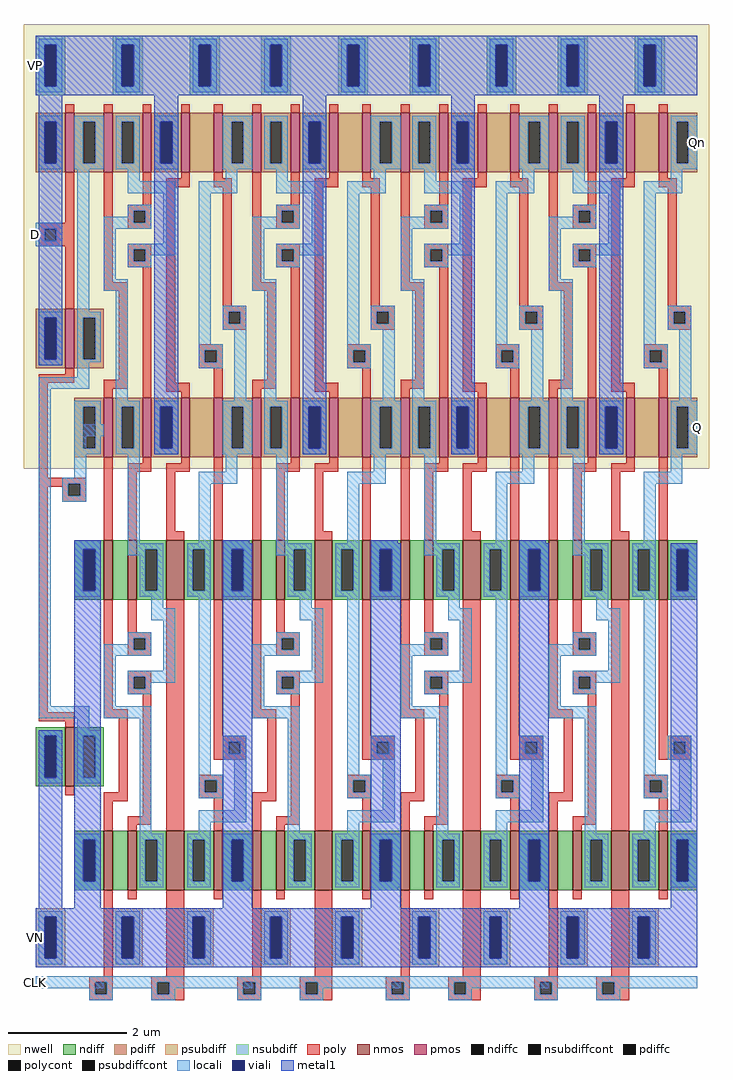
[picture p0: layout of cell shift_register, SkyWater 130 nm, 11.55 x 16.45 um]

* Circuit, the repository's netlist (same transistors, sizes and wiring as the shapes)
* SPICE3 file created from shift_register.ext - technology: sky130A

.subckt inverter A Y VP VN CLK
X0 Y A VP VP sky130_fd_pr__pfet_01v8 ad=1e+12p pd=6e+06u as=1e+12p ps=6e+06u w=1e+06u l=150000u
X1 Y A VP VP sky130_fd_pr__pfet_01v8 ad=0p pd=0u as=0p ps=0u w=1e+06u l=150000u
X2 Y A VN VN sky130_fd_pr__nfet_01v8 ad=5e+11p pd=3e+06u as=5e+11p ps=3e+06u w=1e+06u l=150000u
.ends

.subckt D_latch Dn D Qn Q CLK VP VN
X0 a_30_840# CLK VN VN sky130_fd_pr__nfet_01v8 ad=2.5e+11p pd=2.5e+06u as=2e+12p ps=1.2e+07u w=1e+06u l=150000u
X1 VP a_30_1320# a_30_2280# VP sky130_fd_pr__pfet_01v8 ad=1e+12p pd=6e+06u as=5e+11p ps=3e+06u w=1e+06u l=150000u
X2 a_290_1320# CLK VP VP sky130_fd_pr__pfet_01v8 ad=4e+11p pd=2.8e+06u as=0p ps=0u w=1e+06u l=150000u
X3 Q Qn a_290_1320# VP sky130_fd_pr__pfet_01v8 ad=5e+11p pd=3e+06u as=0p ps=0u w=1e+06u l=150000u
X4 a_30_1320# CLK D VP sky130_fd_pr__pfet_01v8 ad=5e+11p pd=3e+06u as=5e+11p ps=3e+06u w=1e+06u l=150000u
X5 a_30_2280# a_30_1320# a_30_n140# VN sky130_fd_pr__nfet_01v8 ad=5e+11p pd=3e+06u as=2.5e+11p ps=2.5e+06u w=1e+06u l=150000u
X6 Qn CLK a_30_2280# VN sky130_fd_pr__nfet_01v8 ad=5e+11p pd=3e+06u as=0p ps=0u w=1e+06u l=300000u
X7 Q CLK a_30_1320# VN sky130_fd_pr__nfet_01v8 ad=5e+11p pd=3e+06u as=5e+11p ps=3e+06u w=1e+06u l=300000u
X8 a_290_2280# CLK VP VP sky130_fd_pr__pfet_01v8 ad=4e+11p pd=2.8e+06u as=0p ps=0u w=1e+06u l=150000u
X9 VN Q Qn VN sky130_fd_pr__nfet_01v8 ad=0p pd=0u as=0p ps=0u w=1e+06u l=150000u
X10 VP a_30_2280# a_30_1320# VP sky130_fd_pr__pfet_01v8 ad=0p pd=0u as=0p ps=0u w=1e+06u l=150000u
X11 a_30_n140# CLK VN VN sky130_fd_pr__nfet_01v8 ad=0p pd=0u as=0p ps=0u w=1e+06u l=150000u
X12 Qn Q a_290_2280# VP sky130_fd_pr__pfet_01v8 ad=5e+11p pd=3e+06u as=0p ps=0u w=1e+06u l=150000u
X13 a_30_2280# CLK Dn VP sky130_fd_pr__pfet_01v8 ad=0p pd=0u as=5e+11p ps=3e+06u w=1e+06u l=150000u
X14 a_30_1320# a_30_2280# a_30_840# VN sky130_fd_pr__nfet_01v8 ad=0p pd=0u as=0p ps=0u w=1e+06u l=150000u
X15 VN Qn Q VN sky130_fd_pr__nfet_01v8 ad=0p pd=0u as=0p ps=0u w=1e+06u l=150000u
.ends


* Top level circuit shift_register

Xinverter_0 D inverter_0/Y VP VN CLK inverter
XD_latch_0 inverter_0/Y D D_latch_1/Dn D_latch_1/D CLK VP VN D_latch
XD_latch_1 D_latch_1/Dn D_latch_1/D D_latch_2/Dn D_latch_2/D CLK VP VN D_latch
XD_latch_2 D_latch_2/Dn D_latch_2/D D_latch_3/Dn D_latch_3/D CLK VP VN D_latch
XD_latch_3 D_latch_3/Dn D_latch_3/D Qn Q CLK VP VN D_latch
.end

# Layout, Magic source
magic
tech sky130A
<< locali >>
rect 1120 1380 1135 1470
rect 20 1250 35 1290
rect 1120 900 1135 990
rect 20 0 35 20
<< metal1 >>
rect 20 1505 35 1605
rect 20 35 35 135
use D_latch  D_latch_3 ~/Documents/MADVLSI-MP2/layout/final_layout
transform 1 0 885 0 1 235
box -70 -255 270 1390
use D_latch  D_latch_2
transform 1 0 635 0 1 235
box -70 -255 270 1390
use D_latch  D_latch_1
transform 1 0 385 0 1 235
box -70 -255 270 1390
use D_latch  D_latch_0
transform 1 0 135 0 1 235
box -70 -255 270 1390
use inverter  inverter_0 ~/Documents/MADVLSI-MP2/layout/final_layout
transform 1 0 70 0 1 170
box -70 -170 85 1455
<< labels >>
rlabel locali 1135 1425 1135 1425 3 Qn
rlabel locali 1135 945 1135 945 3 Q
rlabel metal1 20 85 20 85 7 VN
rlabel locali 20 10 20 10 7 CLK
rlabel locali 20 1270 20 1270 7 D
rlabel metal1 20 1555 20 1555 7 VP
<< end >>

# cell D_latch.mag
magic
tech sky130A
<< nwell >>
rect -70 640 270 1390
<< nmos >>
rect 0 420 15 520
rect 40 420 55 520
rect 105 420 135 520
rect 185 420 200 520
rect 0 -70 15 30
rect 40 -70 55 30
rect 105 -70 135 30
rect 185 -70 200 30
<< pmos >>
rect 0 1140 15 1240
rect 65 1140 80 1240
rect 130 1140 145 1240
rect 185 1140 200 1240
rect 0 660 15 760
rect 65 660 80 760
rect 130 660 145 760
rect 185 660 200 760
<< ndiff >>
rect -50 505 0 520
rect -50 435 -35 505
rect -15 435 0 505
rect -50 420 0 435
rect 15 420 40 520
rect 55 505 105 520
rect 55 435 70 505
rect 90 435 105 505
rect 55 420 105 435
rect 135 505 185 520
rect 135 435 150 505
rect 170 435 185 505
rect 135 420 185 435
rect 200 505 250 520
rect 200 435 215 505
rect 235 435 250 505
rect 200 420 250 435
rect -50 15 0 30
rect -50 -55 -35 15
rect -15 -55 0 15
rect -50 -70 0 -55
rect 15 -70 40 30
rect 55 15 105 30
rect 55 -55 70 15
rect 90 -55 105 15
rect 55 -70 105 -55
rect 135 15 185 30
rect 135 -55 150 15
rect 170 -55 185 15
rect 135 -70 185 -55
rect 200 15 250 30
rect 200 -55 215 15
rect 235 -55 250 15
rect 200 -70 250 -55
<< pdiff >>
rect -50 1225 0 1240
rect -50 1155 -35 1225
rect -15 1155 0 1225
rect -50 1140 0 1155
rect 15 1225 65 1240
rect 15 1155 30 1225
rect 50 1155 65 1225
rect 15 1140 65 1155
rect 80 1225 130 1240
rect 80 1155 95 1225
rect 115 1155 130 1225
rect 80 1140 130 1155
rect 145 1140 185 1240
rect 200 1225 250 1240
rect 200 1155 215 1225
rect 235 1155 250 1225
rect 200 1140 250 1155
rect -50 745 0 760
rect -50 675 -35 745
rect -15 675 0 745
rect -50 660 0 675
rect 15 745 65 760
rect 15 675 30 745
rect 50 675 65 745
rect 15 660 65 675
rect 80 745 130 760
rect 80 675 95 745
rect 115 675 130 745
rect 80 660 130 675
rect 145 660 185 760
rect 200 745 250 760
rect 200 675 215 745
rect 235 675 250 745
rect 200 660 250 675
<< ndiffc >>
rect -35 435 -15 505
rect 70 435 90 505
rect 150 435 170 505
rect 215 435 235 505
rect -35 -55 -15 15
rect 70 -55 90 15
rect 150 -55 170 15
rect 215 -55 235 15
<< pdiffc >>
rect -35 1155 -15 1225
rect 30 1155 50 1225
rect 95 1155 115 1225
rect 215 1155 235 1225
rect -35 675 -15 745
rect 30 675 50 745
rect 95 675 115 745
rect 215 675 235 745
<< psubdiff >>
rect 15 -115 65 -100
rect 15 -185 30 -115
rect 50 -185 65 -115
rect 15 -200 65 -185
rect 135 -115 185 -100
rect 135 -185 150 -115
rect 170 -185 185 -115
rect 135 -200 185 -185
<< nsubdiff >>
rect 15 1355 65 1370
rect 15 1285 30 1355
rect 50 1285 65 1355
rect 15 1270 65 1285
rect 145 1355 195 1370
rect 145 1285 160 1355
rect 180 1285 195 1355
rect 145 1270 195 1285
<< psubdiffcont >>
rect 30 -185 50 -115
rect 150 -185 170 -115
<< nsubdiffcont >>
rect 30 1285 50 1355
rect 160 1285 180 1355
<< poly >>
rect 0 1240 15 1255
rect 65 1240 80 1255
rect 130 1240 145 1255
rect 185 1240 200 1255
rect 0 955 15 1140
rect 65 1085 80 1140
rect 130 1130 145 1140
rect 40 1075 80 1085
rect 40 1055 50 1075
rect 70 1055 80 1075
rect 40 1045 80 1055
rect 105 1115 145 1130
rect 185 1130 200 1140
rect 185 1115 215 1130
rect 40 1010 80 1020
rect 40 990 50 1010
rect 70 990 80 1010
rect 40 980 80 990
rect 0 940 40 955
rect 25 790 40 940
rect 0 775 40 790
rect 0 760 15 775
rect 65 760 80 980
rect 105 785 120 1115
rect 200 915 215 1115
rect 200 905 240 915
rect 200 885 210 905
rect 230 885 240 905
rect 200 875 240 885
rect 160 840 200 850
rect 160 820 170 840
rect 190 820 200 840
rect 160 810 200 820
rect 105 770 145 785
rect 130 760 145 770
rect 185 760 200 810
rect 0 520 15 660
rect 65 650 80 660
rect 130 650 145 660
rect 40 635 80 650
rect 105 635 145 650
rect 40 520 55 635
rect 105 535 120 635
rect 105 520 135 535
rect 185 520 200 660
rect 0 235 15 420
rect 40 365 55 420
rect 40 355 80 365
rect 40 335 50 355
rect 70 335 80 355
rect 40 325 80 335
rect 40 290 80 300
rect 40 270 50 290
rect 70 270 80 290
rect 40 260 80 270
rect 0 220 40 235
rect 25 95 40 220
rect 0 80 40 95
rect 0 30 15 80
rect 65 55 80 260
rect 40 40 80 55
rect 40 30 55 40
rect 105 30 135 420
rect 185 190 200 420
rect 185 180 240 190
rect 185 160 210 180
rect 230 160 240 180
rect 185 150 240 160
rect 160 115 200 125
rect 160 95 170 115
rect 190 95 200 115
rect 160 85 200 95
rect 185 30 200 85
rect 0 -215 15 -70
rect 40 -85 55 -70
rect 105 -215 135 -70
rect 185 -85 200 -70
rect -25 -225 15 -215
rect -25 -245 -15 -225
rect 5 -245 15 -225
rect -25 -255 15 -245
rect 80 -225 135 -215
rect 80 -245 90 -225
rect 110 -245 135 -225
rect 80 -255 135 -245
<< polycont >>
rect 50 1055 70 1075
rect 50 990 70 1010
rect 210 885 230 905
rect 170 820 190 840
rect 50 335 70 355
rect 50 270 70 290
rect 210 160 230 180
rect 170 95 190 115
rect -15 -245 5 -225
rect 90 -245 110 -225
<< locali >>
rect 20 1355 60 1365
rect 20 1285 30 1355
rect 50 1285 60 1355
rect 20 1275 60 1285
rect 150 1355 190 1365
rect 150 1285 160 1355
rect 180 1285 190 1355
rect 150 1275 190 1285
rect -50 1225 -5 1235
rect -50 1155 -35 1225
rect -15 1155 -5 1225
rect -50 1145 -5 1155
rect 20 1225 60 1235
rect 20 1155 30 1225
rect 50 1155 60 1225
rect 20 1145 60 1155
rect 85 1225 125 1235
rect 85 1155 95 1225
rect 115 1155 125 1225
rect 85 1145 125 1155
rect 205 1225 250 1235
rect 205 1155 215 1225
rect 235 1155 250 1225
rect 205 1145 250 1155
rect 40 1125 60 1145
rect 205 1125 225 1145
rect 40 1105 120 1125
rect 40 1075 80 1085
rect 40 1065 50 1075
rect 0 1055 50 1065
rect 70 1055 80 1075
rect 0 1045 80 1055
rect 0 960 20 1045
rect 100 1020 120 1105
rect 40 1010 120 1020
rect 40 990 50 1010
rect 70 1000 120 1010
rect 160 1105 225 1125
rect 70 990 80 1000
rect 40 980 80 990
rect 0 940 40 960
rect 20 755 40 940
rect 160 850 180 1105
rect 200 905 240 915
rect 200 885 210 905
rect 230 885 240 905
rect 200 875 240 885
rect 160 840 200 850
rect 160 820 170 840
rect 190 820 200 840
rect 160 810 200 820
rect 220 755 240 875
rect -50 745 -5 755
rect -50 675 -35 745
rect -15 675 -5 745
rect -50 665 -5 675
rect 20 745 60 755
rect 20 675 30 745
rect 50 675 60 745
rect 20 665 60 675
rect 85 745 125 755
rect 85 675 95 745
rect 115 675 125 745
rect 85 665 125 675
rect 205 745 250 755
rect 205 675 215 745
rect 235 675 250 745
rect 205 665 250 675
rect -50 505 -5 520
rect -50 435 -35 505
rect -15 435 -5 505
rect 40 515 60 665
rect 205 635 225 665
rect 160 615 225 635
rect 160 515 180 615
rect 40 505 100 515
rect 40 495 70 505
rect -50 425 -5 435
rect 60 435 70 495
rect 90 435 100 505
rect 60 425 100 435
rect 140 505 180 515
rect 140 435 150 505
rect 170 435 180 505
rect 140 425 180 435
rect 205 505 250 515
rect 205 435 215 505
rect 235 435 250 505
rect 205 425 250 435
rect 80 405 100 425
rect 80 385 120 405
rect 40 355 80 365
rect 40 345 50 355
rect 0 335 50 345
rect 70 335 80 355
rect 0 325 80 335
rect 0 240 20 325
rect 100 300 120 385
rect 40 290 120 300
rect 40 270 50 290
rect 70 280 120 290
rect 70 270 80 280
rect 40 260 80 270
rect 0 220 80 240
rect 60 25 80 220
rect 160 125 180 425
rect 200 180 240 190
rect 200 160 210 180
rect 230 160 240 180
rect 200 150 240 160
rect 160 115 200 125
rect 160 95 170 115
rect 190 95 200 115
rect 160 85 200 95
rect 220 65 240 150
rect 160 45 240 65
rect 160 25 180 45
rect -50 15 -5 25
rect -50 -55 -35 15
rect -15 -55 -5 15
rect -50 -70 -5 -55
rect 60 15 100 25
rect 60 -55 70 15
rect 90 -55 100 15
rect 60 -65 100 -55
rect 140 15 180 25
rect 140 -55 150 15
rect 170 -55 180 15
rect 140 -65 180 -55
rect 205 15 250 25
rect 205 -55 215 15
rect 235 -55 250 15
rect 205 -65 250 -55
rect 20 -115 60 -105
rect 20 -185 30 -115
rect 50 -185 60 -115
rect 20 -195 60 -185
rect 140 -115 180 -105
rect 140 -185 150 -115
rect 170 -185 180 -115
rect 140 -195 180 -185
rect -50 -225 250 -215
rect -50 -235 -15 -225
rect -25 -245 -15 -235
rect 5 -235 90 -225
rect 5 -245 15 -235
rect -25 -255 15 -245
rect 80 -245 90 -235
rect 110 -235 250 -225
rect 110 -245 120 -235
rect 80 -255 120 -245
<< viali >>
rect 30 1285 50 1355
rect 160 1285 180 1355
rect 95 1155 115 1225
rect 95 675 115 745
rect -35 435 -15 505
rect 215 435 235 505
rect -35 -55 -15 15
rect 215 -55 235 15
rect 30 -185 50 -115
rect 150 -185 170 -115
<< metal1 >>
rect -50 1355 250 1370
rect -50 1285 30 1355
rect 50 1285 160 1355
rect 180 1285 250 1355
rect -50 1270 250 1285
rect 85 1225 125 1270
rect 85 1155 95 1225
rect 115 1155 125 1225
rect 85 745 125 1155
rect 85 675 95 745
rect 115 675 125 745
rect 85 665 125 675
rect -50 505 -5 520
rect -50 435 -35 505
rect -15 435 -5 505
rect -50 15 -5 435
rect -50 -55 -35 15
rect -15 -55 -5 15
rect -50 -100 -5 -55
rect 205 505 250 515
rect 205 435 215 505
rect 235 435 250 505
rect 205 15 250 435
rect 205 -55 215 15
rect 235 -55 250 15
rect 205 -100 250 -55
rect -50 -115 250 -100
rect -50 -185 30 -115
rect 50 -185 150 -115
rect 170 -185 250 -115
rect -50 -200 250 -185
<< labels >>
rlabel locali -50 710 -50 710 7 D
port 2 w
rlabel locali -50 1190 -50 1190 7 Dn
port 1 w
rlabel metal1 -50 1325 -50 1325 7 VP
port 6 w
rlabel metal1 -50 -155 -50 -155 7 VN
port 7 w
rlabel locali -50 -225 -50 -225 7 CLK
port 5 w
rlabel locali 250 1190 250 1190 3 Qn
port 3 e
rlabel locali 250 710 250 710 3 Q
port 4 e
<< end >>

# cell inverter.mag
magic
tech sky130A
<< nwell >>
rect -70 705 85 1455
<< nmos >>
rect 0 170 15 270
<< pmos >>
rect 0 1205 15 1305
rect 0 875 15 975
<< ndiff >>
rect -50 255 0 270
rect -50 185 -35 255
rect -15 185 0 255
rect -50 170 0 185
rect 15 255 65 270
rect 15 185 30 255
rect 50 185 65 255
rect 15 170 65 185
<< pdiff >>
rect -50 1290 0 1305
rect -50 1220 -35 1290
rect -15 1220 0 1290
rect -50 1205 0 1220
rect 15 1290 65 1305
rect 15 1220 30 1290
rect 50 1220 65 1290
rect 15 1205 65 1220
rect -50 960 0 975
rect -50 890 -35 960
rect -15 890 0 960
rect -50 875 0 890
rect 15 960 65 975
rect 15 890 30 960
rect 50 890 65 960
rect 15 875 65 890
<< ndiffc >>
rect -35 185 -15 255
rect 30 185 50 255
<< pdiffc >>
rect -35 1220 -15 1290
rect 30 1220 50 1290
rect -35 890 -15 960
rect 30 890 50 960
<< psubdiff >>
rect -50 -50 0 -35
rect -50 -120 -35 -50
rect -15 -120 0 -50
rect -50 -135 0 -120
<< nsubdiff >>
rect -50 1420 0 1435
rect -50 1350 -35 1420
rect -15 1350 0 1420
rect -50 1335 0 1350
<< psubdiffcont >>
rect -35 -120 -15 -50
<< nsubdiffcont >>
rect -35 1350 -15 1420
<< poly >>
rect 0 1305 15 1320
rect 0 1120 15 1205
rect -45 1110 15 1120
rect -45 1090 -35 1110
rect -15 1090 15 1110
rect -45 1080 15 1090
rect 0 975 15 1080
rect 0 865 15 875
rect -45 850 15 865
rect -45 690 -30 850
rect -45 680 35 690
rect -45 675 5 680
rect -45 295 -30 675
rect -5 660 5 675
rect 25 660 35 680
rect -5 650 35 660
rect -45 280 15 295
rect 0 270 15 280
rect 0 155 15 170
<< polycont >>
rect -35 1090 -15 1110
rect 5 660 25 680
<< locali >>
rect -45 1420 -5 1430
rect -45 1350 -35 1420
rect -15 1350 -5 1420
rect -45 1340 -5 1350
rect -45 1290 -5 1300
rect -45 1220 -35 1290
rect -15 1220 -5 1290
rect -45 1210 -5 1220
rect 20 1290 65 1300
rect 20 1220 30 1290
rect 50 1220 65 1290
rect 20 1210 65 1220
rect -50 1110 -5 1120
rect -50 1090 -35 1110
rect -15 1090 -5 1110
rect -50 1080 -5 1090
rect 20 970 40 1210
rect -45 960 -5 970
rect -45 890 -35 960
rect -15 890 -5 960
rect -45 880 -5 890
rect 20 960 60 970
rect 20 890 30 960
rect 50 890 60 960
rect 20 885 60 890
rect 20 860 40 885
rect -45 840 40 860
rect -45 305 -25 840
rect 15 760 65 780
rect 15 690 35 760
rect -5 680 35 690
rect -5 660 5 680
rect 25 660 35 680
rect -5 650 35 660
rect -45 285 40 305
rect 20 265 40 285
rect -45 255 -5 265
rect -45 185 -35 255
rect -15 185 -5 255
rect -45 175 -5 185
rect 20 255 60 265
rect 20 185 30 255
rect 50 185 60 255
rect 20 175 60 185
rect -45 -50 -5 -40
rect -45 -120 -35 -50
rect -15 -120 -5 -50
rect -45 -130 -5 -120
rect -50 -170 65 -150
<< viali >>
rect -35 1350 -15 1420
rect -35 1220 -15 1290
rect -35 890 -15 960
rect -35 185 -15 255
rect -35 -120 -15 -50
<< metal1 >>
rect -50 1420 65 1435
rect -50 1350 -35 1420
rect -15 1350 65 1420
rect -50 1335 65 1350
rect -45 1290 -5 1335
rect -45 1220 -35 1290
rect -15 1220 -5 1290
rect -45 960 -5 1220
rect -45 890 -35 960
rect -15 890 -5 960
rect -45 880 -5 890
rect -45 255 -5 265
rect -45 185 -35 255
rect -15 185 -5 255
rect -45 -35 -5 185
rect -50 -50 65 -35
rect -50 -120 -35 -50
rect -15 -120 65 -50
rect -50 -135 65 -120
<< labels >>
rlabel metal1 -50 1385 -50 1385 7 VP
port 3 w
rlabel locali 65 1255 65 1255 3 Y
port 2 e
rlabel locali 65 770 65 770 3 Ao
port 6 e
rlabel locali -50 1100 -50 1100 7 A
port 1 w
rlabel metal1 -50 -85 -50 -85 7 VN
port 4 w
rlabel locali -50 -160 -50 -160 7 CLK
port 5 w
<< end >>
